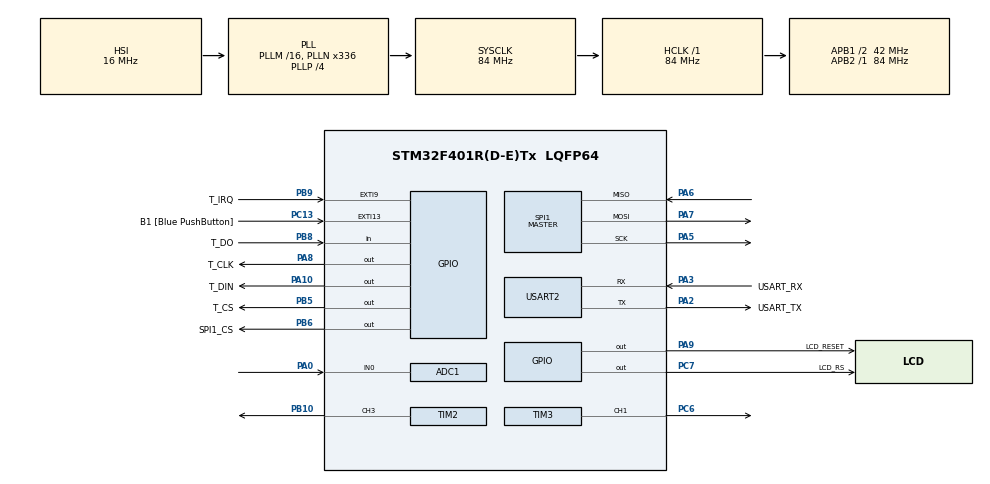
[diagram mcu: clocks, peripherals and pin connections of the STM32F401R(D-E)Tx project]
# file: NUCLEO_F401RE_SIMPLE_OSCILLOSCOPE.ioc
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ADC1.Channel-0\#ChannelRegularConversion=ADC_CHANNEL_0
ADC1.DMAContinuousRequests=ENABLE
ADC1.EnableAnalogWatchDog=true
ADC1.ExternalTrigConv=ADC_EXTERNALTRIGCONV_T3_CC1
ADC1.HighThreshold=200
ADC1.ITMode=ENABLE
ADC1.NbrOfConversionFlag=1
ADC1.Rank-0\#ChannelRegularConversion=1
ADC1.SamplingTime-0\#ChannelRegularConversion=ADC_SAMPLETIME_3CYCLES
ADC1.master=1
Dma.ADC1.0.Direction=DMA_PERIPH_TO_MEMORY
Dma.ADC1.0.FIFOMode=DMA_FIFOMODE_DISABLE
Dma.ADC1.0.Instance=DMA2_Stream0
Dma.ADC1.0.MemDataAlignment=DMA_MDATAALIGN_WORD
Dma.ADC1.0.MemInc=DMA_MINC_ENABLE
Dma.ADC1.0.Mode=DMA_CIRCULAR
Dma.ADC1.0.PeriphDataAlignment=DMA_PDATAALIGN_WORD
Dma.ADC1.0.PeriphInc=DMA_PINC_DISABLE
Dma.ADC1.0.Priority=DMA_PRIORITY_HIGH
Dma.Request0=ADC1
Dma.Request1=SPI1_TX
Dma.SPI1_TX.1.Direction=DMA_MEMORY_TO_PERIPH
Dma.SPI1_TX.1.FIFOMode=DMA_FIFOMODE_DISABLE
Dma.SPI1_TX.1.Instance=DMA2_Stream3
Dma.SPI1_TX.1.MemDataAlignment=DMA_MDATAALIGN_BYTE
Dma.SPI1_TX.1.MemInc=DMA_MINC_ENABLE
Dma.SPI1_TX.1.Mode=DMA_NORMAL
Dma.SPI1_TX.1.PeriphDataAlignment=DMA_PDATAALIGN_BYTE
Dma.SPI1_TX.1.PeriphInc=DMA_PINC_DISABLE
Dma.SPI1_TX.1.Priority=DMA_PRIORITY_HIGH
Mcu.Family=STM32F4
Mcu.Name=STM32F401R(D-E)Tx
Mcu.Package=LQFP64
NVIC.ADC_IRQn=true\:0\:0\:false\:false\:true\:true\:true
NVIC.DMA2_Stream0_IRQn=true\:0\:0\:false\:false\:true\:false\:true
NVIC.DMA2_Stream3_IRQn=true\:0\:0\:false\:false\:true\:false\:true
NVIC.EXTI15_10_IRQn=true\:0\:0\:false\:false\:true\:true\:true
NVIC.EXTI9_5_IRQn=true\:0\:0\:false\:false\:true\:true\:true
NVIC.PriorityGroup=NVIC_PRIORITYGROUP_0
NVIC.TIM5_IRQn=true\:0\:0\:false\:false\:true\:true\:true
PA0-WKUP.Signal=ADCx_IN0
PA10.GPIO_Label=T_DIN
PA10.Signal=GPIO_Output
PA13.GPIO_Label=TMS
PA13.Mode=Serial_Wire
PA13.Signal=SYS_JTMS-SWDIO
PA14.GPIO_Label=TCK
PA14.Mode=Serial_Wire
PA14.Signal=SYS_JTCK-SWCLK
PA2.GPIO_Label=USART_TX
PA2.GPIO_Mode=GPIO_MODE_AF_PP
PA2.GPIO_PuPd=GPIO_NOPULL
PA2.GPIO_Speed=GPIO_SPEED_FREQ_LOW
PA2.Mode=Asynchronous
PA2.Signal=USART2_TX
PA3.GPIO_Label=USART_RX
PA3.GPIO_Mode=GPIO_MODE_AF_PP
PA3.GPIO_PuPd=GPIO_NOPULL
PA3.GPIO_Speed=GPIO_SPEED_FREQ_LOW
PA3.Mode=Asynchronous
PA3.Signal=USART2_RX
PA5.Mode=Full_Duplex_Master
PA5.Signal=SPI1_SCK
PA6.Mode=Full_Duplex_Master
PA6.Signal=SPI1_MISO
PA7.Mode=Full_Duplex_Master
PA7.Signal=SPI1_MOSI
PA8.GPIO_Label=T_CLK
PA8.Signal=GPIO_Output
PA9.GPIO_Label=LCD_RESET
PA9.PinState=GPIO_PIN_SET
PA9.Signal=GPIO_Output
PB10.Signal=S_TIM2_CH3
PB3.GPIO_Label=SWO
PB3.Signal=SYS_JTDO-SWO
PB5.GPIO_Label=T_CS
PB5.Signal=GPIO_Output
PB6.GPIO_Label=SPI1_CS
PB6.PinState=GPIO_PIN_SET
PB6.Signal=GPIO_Output
PB8.GPIO_Label=T_DO
PB8.Signal=GPIO_Input
PB9.GPIO_Label=T_IRQ
PB9.GPIO_ModeDefaultEXTI=GPIO_MODE_IT_FALLING
PB9.Signal=GPXTI9
PC13-ANTI_TAMP.GPIO_Label=B1 [Blue PushButton]
PC13-ANTI_TAMP.GPIO_ModeDefaultEXTI=GPIO_MODE_IT_FALLING
PC13-ANTI_TAMP.GPIO_PuPd=GPIO_NOPULL
PC13-ANTI_TAMP.Signal=GPXTI13
PC14-OSC32_IN.Mode=LSE-External-Oscillator
PC14-OSC32_IN.Signal=RCC_OSC32_IN
PC15-OSC32_OUT.Mode=LSE-External-Oscillator
PC15-OSC32_OUT.Signal=RCC_OSC32_OUT
PC6.Signal=S_TIM3_CH1
PC7.GPIO_Label=LCD_RS
PC7.Signal=GPIO_Output
PH0\ -\ OSC_IN.Mode=HSE-External-Clock-Source
PH0\ -\ OSC_IN.Signal=RCC_OSC_IN
PH1\ -\ OSC_OUT.Mode=HSE-External-Clock-Source
PH1\ -\ OSC_OUT.Signal=RCC_OSC_OUT
ProjectManager.HeapSize=0x200
ProjectManager.StackSize=0x400
ProjectManager.TargetToolchain=STM32CubeIDE
RCC.48MHZClocksFreq_Value=48000000
RCC.AHBFreq_Value=84000000
RCC.APB1CLKDivider=RCC_HCLK_DIV2
RCC.APB1Freq_Value=42000000
RCC.APB1TimFreq_Value=84000000
RCC.APB2Freq_Value=84000000
RCC.APB2TimFreq_Value=84000000
RCC.CortexFreq_Value=84000000
RCC.HCLKFreq_Value=84000000
RCC.HSE_VALUE=8000000
RCC.HSI_VALUE=16000000
RCC.PLLN=336
RCC.PLLP=RCC_PLLP_DIV4
RCC.PLLQ=7
RCC.SYSCLKFreq_VALUE=84000000
RCC.SYSCLKSource=RCC_SYSCLKSOURCE_PLLCLK
RCC.VCOOutputFreq_Value=336000000
SH.ADCx_IN0.0=ADC1_IN0,IN0
SH.S_TIM2_CH3.0=TIM2_CH3,PWM Generation3 CH3
SH.S_TIM3_CH1.0=TIM3_CH1,PWM Generation1 CH1
SPI1.Direction=SPI_DIRECTION_2LINES
SPI1.Mode=SPI_MODE_MASTER
SPI1.VirtualType=VM_MASTER
TIM2.AutoReloadPreload=TIM_AUTORELOAD_PRELOAD_ENABLE
TIM2.Channel-PWM\ Generation3\ CH3=TIM_CHANNEL_3
TIM2.OCPolarity_3=TIM_OCPOLARITY_HIGH
TIM2.Period=8400
TIM2.Pulse-PWM\ Generation3\ CH3=4200
TIM3.AutoReloadPreload=TIM_AUTORELOAD_PRELOAD_ENABLE
TIM3.Channel-PWM\ Generation1\ CH1=TIM_CHANNEL_1
TIM3.Period=420
TIM3.Pulse-PWM\ Generation1\ CH1=210
TIM5.AutoReloadPreload=TIM_AUTORELOAD_PRELOAD_DISABLE
TIM5.Channel-Output\ Compare2\ No\ Output=TIM_CHANNEL_2
TIM5.OCMode_2=TIM_OCMODE_ACTIVE
TIM5.Period=168000
TIM5.Pulse-Output\ Compare2\ No\ Output=84000
TIM5.TIM_MasterOutputTrigger=TIM_TRGO_RESET
TIM5.TIM_MasterSlaveMode=TIM_MASTERSLAVEMODE_DISABLE
USART2.VirtualMode=VM_ASYNC
VP_TIM5_VS_OPM.Mode=OPM_bit
VP_TIM5_VS_no_output2.Mode=Output Compare2 No Output
board=NUCLEO-F401RE

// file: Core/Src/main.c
/* USER CODE BEGIN Header */
/**
  ******************************************************************************
  * @file           : main.c
  * @brief          : Main program body
  ******************************************************************************
  * @attention
  *
  * Copyright (c) 2022 STMicroelectronics.
  * All rights reserved.
  *
  * This software is licensed under terms that can be found in the LICENSE file
  * in the root directory of this software component.
  * If no LICENSE file comes with this software, it is provided AS-IS.
  *
  ******************************************************************************
  */
/* USER CODE END Header */
#include "main.h"

/* USER CODE BEGIN Includes */
#include "stdio.h"
#include "string.h"
#include "math.h"
#include "lcd.h"
#include "lcd2.h"
#include "GUI.h"
#include "Touch.h"
#include "Oscillo.h"
#include "test.h"
/* USER CODE END Includes */

ADC_HandleTypeDef hadc1;
DMA_HandleTypeDef hdma_adc1;

SPI_HandleTypeDef hspi1;
DMA_HandleTypeDef hdma_spi1_tx;

TIM_HandleTypeDef htim2;
TIM_HandleTypeDef htim3;
TIM_HandleTypeDef htim5;

UART_HandleTypeDef huart2;

void SystemClock_Config(void);
static void MX_GPIO_Init(void);
static void MX_USART2_UART_Init(void);
static void MX_SPI1_Init(void);
static void MX_DMA_Init(void);
static void MX_ADC1_Init(void);
static void MX_TIM2_Init(void);
static void MX_TIM3_Init(void);
static void MX_TIM5_Init(void);

int main(void)
{

  /* MCU Configuration--------------------------------------------------------*/

  /* Reset of all peripherals, Initializes the Flash interface and the Systick. */
  HAL_Init();

  /* Configure the system clock */
  SystemClock_Config();

  /* Initialize all configured peripherals */
  MX_GPIO_Init();
  MX_USART2_UART_Init();
  MX_DMA_Init();
  MX_SPI1_Init();
  MX_ADC1_Init();
  MX_TIM2_Init();
  MX_TIM3_Init();
  MX_TIM5_Init();
  /* USER CODE BEGIN 2 */
  // !!!Note!!! Modify the auto-generated code to call MX_DMA_Init() before MX_SPI1_Init() in order to use DMA in SPI1

  /* USER CODE END 2 */

  /* Infinite loop */
  /* USER CODE BEGIN WHILE */
  LCD_Init();
  HAL_Delay(3000);
  TP_Init();
  oscillo_init();

  while (1)
  {
#ifndef TOUCH_TEST_MODE
    HAL_Delay(100);
    oscillo_draw(current_view);

#else
	// Touch test
	Touch_Test();
#endif

#if 0	// ADC test
    {
      uint32_t adc_dr;

      HAL_ADC_Start(&hadc1);
	  HAL_ADC_PollForConversion(&hadc1, 1000);
	  adc_dr = HAL_ADC_GetValue(&hadc1);
	  //adc_phy = adc_dr * 3.3 / 4096;
	  printf("adc result: %ld\n", adc_dr);
    }
#endif

#if 0	// LCD test
	  //main_test();
	  	Test_Color();
		Test_FillRec();
		Test_Circle();
		Test_Triangle();
#endif

    /* USER CODE END WHILE */

  }
}

void SystemClock_Config(void)
{
  RCC_OscInitTypeDef RCC_OscInitStruct = {0};
  RCC_ClkInitTypeDef RCC_ClkInitStruct = {0};

  /** Configure the main internal regulator output voltage
  */
  __HAL_RCC_PWR_CLK_ENABLE();
  __HAL_PWR_VOLTAGESCALING_CONFIG(PWR_REGULATOR_VOLTAGE_SCALE2);
  /** Initializes the RCC Oscillators according to the specified parameters
  * in the RCC_OscInitTypeDef structure.
  */
  RCC_OscInitStruct.OscillatorType = RCC_OSCILLATORTYPE_HSI;
  RCC_OscInitStruct.HSIState = RCC_HSI_ON;
  RCC_OscInitStruct.HSICalibrationValue = RCC_HSICALIBRATION_DEFAULT;
  RCC_OscInitStruct.PLL.PLLState = RCC_PLL_ON;
  RCC_OscInitStruct.PLL.PLLSource = RCC_PLLSOURCE_HSI;
  RCC_OscInitStruct.PLL.PLLM = 16;
  RCC_OscInitStruct.PLL.PLLN = 336;
  RCC_OscInitStruct.PLL.PLLP = RCC_PLLP_DIV4;
  RCC_OscInitStruct.PLL.PLLQ = 7;
  if (HAL_RCC_OscConfig(&RCC_OscInitStruct) != HAL_OK)
  {
    Error_Handler();
  }
  /** Initializes the CPU, AHB and APB buses clocks
  */
  RCC_ClkInitStruct.ClockType = RCC_CLOCKTYPE_HCLK|RCC_CLOCKTYPE_SYSCLK
                              |RCC_CLOCKTYPE_PCLK1|RCC_CLOCKTYPE_PCLK2;
  RCC_ClkInitStruct.SYSCLKSource = RCC_SYSCLKSOURCE_PLLCLK;
  RCC_ClkInitStruct.AHBCLKDivider = RCC_SYSCLK_DIV1;
  RCC_ClkInitStruct.APB1CLKDivider = RCC_HCLK_DIV2;
  RCC_ClkInitStruct.APB2CLKDivider = RCC_HCLK_DIV1;

  if (HAL_RCC_ClockConfig(&RCC_ClkInitStruct, FLASH_LATENCY_2) != HAL_OK)
  {
    Error_Handler();
  }
}

static void MX_ADC1_Init(void)
{

  ADC_AnalogWDGConfTypeDef AnalogWDGConfig = {0};
  ADC_ChannelConfTypeDef sConfig = {0};

  /** Configure the global features of the ADC (Clock, Resolution, Data Alignment and number of conversion)
  */
  hadc1.Instance = ADC1;
  hadc1.Init.ClockPrescaler = ADC_CLOCK_SYNC_PCLK_DIV4;
  hadc1.Init.Resolution = ADC_RESOLUTION_12B;
  hadc1.Init.ScanConvMode = DISABLE;
  hadc1.Init.ContinuousConvMode = DISABLE;
  hadc1.Init.DiscontinuousConvMode = DISABLE;
  hadc1.Init.ExternalTrigConvEdge = ADC_EXTERNALTRIGCONVEDGE_RISING;
  hadc1.Init.ExternalTrigConv = ADC_EXTERNALTRIGCONV_T3_CC1;
  hadc1.Init.DataAlign = ADC_DATAALIGN_RIGHT;
  hadc1.Init.NbrOfConversion = 1;
  hadc1.Init.DMAContinuousRequests = ENABLE;
  hadc1.Init.EOCSelection = ADC_EOC_SINGLE_CONV;
  if (HAL_ADC_Init(&hadc1) != HAL_OK)
  {
    Error_Handler();
  }
  /** Configure the analog watchdog
  */
  AnalogWDGConfig.WatchdogMode = ADC_ANALOGWATCHDOG_SINGLE_REG;
  AnalogWDGConfig.HighThreshold = 200;
  AnalogWDGConfig.LowThreshold = 0;
  AnalogWDGConfig.Channel = ADC_CHANNEL_0;
  AnalogWDGConfig.ITMode = ENABLE;
  if (HAL_ADC_AnalogWDGConfig(&hadc1, &AnalogWDGConfig) != HAL_OK)
  {
    Error_Handler();
  }
  /** Configure for the selected ADC regular channel its corresponding rank in the sequencer and its sample time.
  */
  sConfig.Channel = ADC_CHANNEL_0;
  sConfig.Rank = 1;
  sConfig.SamplingTime = ADC_SAMPLETIME_3CYCLES;
  if (HAL_ADC_ConfigChannel(&hadc1, &sConfig) != HAL_OK)
  {
    Error_Handler();
  }

}

static void MX_SPI1_Init(void)
{

  /* SPI1 parameter configuration*/
  hspi1.Instance = SPI1;
  hspi1.Init.Mode = SPI_MODE_MASTER;
  hspi1.Init.Direction = SPI_DIRECTION_2LINES;
  hspi1.Init.DataSize = SPI_DATASIZE_8BIT;
  hspi1.Init.CLKPolarity = SPI_POLARITY_LOW;
  hspi1.Init.CLKPhase = SPI_PHASE_1EDGE;
  hspi1.Init.NSS = SPI_NSS_SOFT;
  hspi1.Init.BaudRatePrescaler = SPI_BAUDRATEPRESCALER_2;
  hspi1.Init.FirstBit = SPI_FIRSTBIT_MSB;
  hspi1.Init.TIMode = SPI_TIMODE_DISABLE;
  hspi1.Init.CRCCalculation = SPI_CRCCALCULATION_DISABLE;
  hspi1.Init.CRCPolynomial = 10;
  if (HAL_SPI_Init(&hspi1) != HAL_OK)
  {
    Error_Handler();
  }

}

static void MX_TIM2_Init(void)
{

  TIM_MasterConfigTypeDef sMasterConfig = {0};
  TIM_OC_InitTypeDef sConfigOC = {0};

  htim2.Instance = TIM2;
  htim2.Init.Prescaler = 0;
  htim2.Init.CounterMode = TIM_COUNTERMODE_UP;
  htim2.Init.Period = 8400;
  htim2.Init.ClockDivision = TIM_CLOCKDIVISION_DIV1;
  htim2.Init.AutoReloadPreload = TIM_AUTORELOAD_PRELOAD_ENABLE;
  if (HAL_TIM_PWM_Init(&htim2) != HAL_OK)
  {
    Error_Handler();
  }
  sMasterConfig.MasterOutputTrigger = TIM_TRGO_RESET;
  sMasterConfig.MasterSlaveMode = TIM_MASTERSLAVEMODE_DISABLE;
  if (HAL_TIMEx_MasterConfigSynchronization(&htim2, &sMasterConfig) != HAL_OK)
  {
    Error_Handler();
  }
  sConfigOC.OCMode = TIM_OCMODE_PWM1;
  sConfigOC.Pulse = 4200;
  sConfigOC.OCPolarity = TIM_OCPOLARITY_HIGH;
  sConfigOC.OCFastMode = TIM_OCFAST_DISABLE;
  if (HAL_TIM_PWM_ConfigChannel(&htim2, &sConfigOC, TIM_CHANNEL_3) != HAL_OK)
  {
    Error_Handler();
  }
  HAL_TIM_MspPostInit(&htim2);

}

static void MX_TIM3_Init(void)
{

  TIM_MasterConfigTypeDef sMasterConfig = {0};
  TIM_OC_InitTypeDef sConfigOC = {0};

  htim3.Instance = TIM3;
  htim3.Init.Prescaler = 0;
  htim3.Init.CounterMode = TIM_COUNTERMODE_UP;
  htim3.Init.Period = 420;
  htim3.Init.ClockDivision = TIM_CLOCKDIVISION_DIV1;
  htim3.Init.AutoReloadPreload = TIM_AUTORELOAD_PRELOAD_ENABLE;
  if (HAL_TIM_PWM_Init(&htim3) != HAL_OK)
  {
    Error_Handler();
  }
  sMasterConfig.MasterOutputTrigger = TIM_TRGO_RESET;
  sMasterConfig.MasterSlaveMode = TIM_MASTERSLAVEMODE_DISABLE;
  if (HAL_TIMEx_MasterConfigSynchronization(&htim3, &sMasterConfig) != HAL_OK)
  {
    Error_Handler();
  }
  sConfigOC.OCMode = TIM_OCMODE_PWM1;
  sConfigOC.Pulse = 210;
  sConfigOC.OCPolarity = TIM_OCPOLARITY_HIGH;
  sConfigOC.OCFastMode = TIM_OCFAST_DISABLE;
  if (HAL_TIM_PWM_ConfigChannel(&htim3, &sConfigOC, TIM_CHANNEL_1) != HAL_OK)
  {
    Error_Handler();
  }
  HAL_TIM_MspPostInit(&htim3);

}

static void MX_TIM5_Init(void)
{

  TIM_MasterConfigTypeDef sMasterConfig = {0};
  TIM_OC_InitTypeDef sConfigOC = {0};

  htim5.Instance = TIM5;
  htim5.Init.Prescaler = 0;
  htim5.Init.CounterMode = TIM_COUNTERMODE_UP;
  htim5.Init.Period = 168000;
  htim5.Init.ClockDivision = TIM_CLOCKDIVISION_DIV1;
  htim5.Init.AutoReloadPreload = TIM_AUTORELOAD_PRELOAD_DISABLE;
  if (HAL_TIM_OC_Init(&htim5) != HAL_OK)
  {
    Error_Handler();
  }
  if (HAL_TIM_OnePulse_Init(&htim5, TIM_OPMODE_SINGLE) != HAL_OK)
  {
    Error_Handler();
  }
  sMasterConfig.MasterOutputTrigger = TIM_TRGO_RESET;
  sMasterConfig.MasterSlaveMode = TIM_MASTERSLAVEMODE_DISABLE;
  if (HAL_TIMEx_MasterConfigSynchronization(&htim5, &sMasterConfig) != HAL_OK)
  {
    Error_Handler();
  }
  sConfigOC.OCMode = TIM_OCMODE_ACTIVE;
  sConfigOC.Pulse = 84000;
  sConfigOC.OCPolarity = TIM_OCPOLARITY_HIGH;
  sConfigOC.OCFastMode = TIM_OCFAST_DISABLE;
  if (HAL_TIM_OC_ConfigChannel(&htim5, &sConfigOC, TIM_CHANNEL_2) != HAL_OK)
  {
    Error_Handler();
  }

}

static void MX_USART2_UART_Init(void)
{

  huart2.Instance = USART2;
  huart2.Init.BaudRate = 115200;
  huart2.Init.WordLength = UART_WORDLENGTH_8B;
  huart2.Init.StopBits = UART_STOPBITS_1;
  huart2.Init.Parity = UART_PARITY_NONE;
  huart2.Init.Mode = UART_MODE_TX_RX;
  huart2.Init.HwFlowCtl = UART_HWCONTROL_NONE;
  huart2.Init.OverSampling = UART_OVERSAMPLING_16;
  if (HAL_UART_Init(&huart2) != HAL_OK)
  {
    Error_Handler();
  }

}

static void MX_DMA_Init(void)
{

  /* DMA controller clock enable */
  __HAL_RCC_DMA2_CLK_ENABLE();

  /* DMA interrupt init */
  /* DMA2_Stream0_IRQn interrupt configuration */
  HAL_NVIC_SetPriority(DMA2_Stream0_IRQn, 0, 0);
  HAL_NVIC_EnableIRQ(DMA2_Stream0_IRQn);
  /* DMA2_Stream3_IRQn interrupt configuration */
  HAL_NVIC_SetPriority(DMA2_Stream3_IRQn, 0, 0);
  HAL_NVIC_EnableIRQ(DMA2_Stream3_IRQn);

}

static void MX_GPIO_Init(void)
{
  GPIO_InitTypeDef GPIO_InitStruct = {0};

  /* GPIO Ports Clock Enable */
  __HAL_RCC_GPIOC_CLK_ENABLE();
  __HAL_RCC_GPIOH_CLK_ENABLE();
  __HAL_RCC_GPIOA_CLK_ENABLE();
  __HAL_RCC_GPIOB_CLK_ENABLE();

  /*Configure GPIO pin Output Level */
  HAL_GPIO_WritePin(LCD_RS_GPIO_Port, LCD_RS_Pin, GPIO_PIN_RESET);

  /*Configure GPIO pin Output Level */
  HAL_GPIO_WritePin(GPIOA, T_CLK_Pin|T_DIN_Pin, GPIO_PIN_RESET);

  /*Configure GPIO pin Output Level */
  HAL_GPIO_WritePin(LCD_RESET_GPIO_Port, LCD_RESET_Pin, GPIO_PIN_SET);

  /*Configure GPIO pin Output Level */
  HAL_GPIO_WritePin(T_CS_GPIO_Port, T_CS_Pin, GPIO_PIN_RESET);

  /*Configure GPIO pin Output Level */
  HAL_GPIO_WritePin(SPI1_CS_GPIO_Port, SPI1_CS_Pin, GPIO_PIN_SET);

  /*Configure GPIO pin : B1_Pin */
  GPIO_InitStruct.Pin = B1_Pin;
  GPIO_InitStruct.Mode = GPIO_MODE_IT_FALLING;
  GPIO_InitStruct.Pull = GPIO_NOPULL;
  HAL_GPIO_Init(B1_GPIO_Port, &GPIO_InitStruct);

  /*Configure GPIO pin : LCD_RS_Pin */
  GPIO_InitStruct.Pin = LCD_RS_Pin;
  GPIO_InitStruct.Mode = GPIO_MODE_OUTPUT_PP;
  GPIO_InitStruct.Pull = GPIO_NOPULL;
  GPIO_InitStruct.Speed = GPIO_SPEED_FREQ_LOW;
  HAL_GPIO_Init(LCD_RS_GPIO_Port, &GPIO_InitStruct);

  /*Configure GPIO pins : T_CLK_Pin LCD_RESET_Pin T_DIN_Pin */
  GPIO_InitStruct.Pin = T_CLK_Pin|LCD_RESET_Pin|T_DIN_Pin;
  GPIO_InitStruct.Mode = GPIO_MODE_OUTPUT_PP;
  GPIO_InitStruct.Pull = GPIO_NOPULL;
  GPIO_InitStruct.Speed = GPIO_SPEED_FREQ_LOW;
  HAL_GPIO_Init(GPIOA, &GPIO_InitStruct);

  /*Configure GPIO pins : T_CS_Pin SPI1_CS_Pin */
  GPIO_InitStruct.Pin = T_CS_Pin|SPI1_CS_Pin;
  GPIO_InitStruct.Mode = GPIO_MODE_OUTPUT_PP;
  GPIO_InitStruct.Pull = GPIO_NOPULL;
  GPIO_InitStruct.Speed = GPIO_SPEED_FREQ_LOW;
  HAL_GPIO_Init(GPIOB, &GPIO_InitStruct);

  /*Configure GPIO pin : T_DO_Pin */
  GPIO_InitStruct.Pin = T_DO_Pin;
  GPIO_InitStruct.Mode = GPIO_MODE_INPUT;
  GPIO_InitStruct.Pull = GPIO_NOPULL;
  HAL_GPIO_Init(T_DO_GPIO_Port, &GPIO_InitStruct);

  /*Configure GPIO pin : T_IRQ_Pin */
  GPIO_InitStruct.Pin = T_IRQ_Pin;
  GPIO_InitStruct.Mode = GPIO_MODE_IT_FALLING;
  GPIO_InitStruct.Pull = GPIO_NOPULL;
  HAL_GPIO_Init(T_IRQ_GPIO_Port, &GPIO_InitStruct);

  /* EXTI interrupt init*/
  HAL_NVIC_SetPriority(EXTI9_5_IRQn, 0, 0);
  HAL_NVIC_EnableIRQ(EXTI9_5_IRQn);

  HAL_NVIC_SetPriority(EXTI15_10_IRQn, 0, 0);
  HAL_NVIC_EnableIRQ(EXTI15_10_IRQn);

}

/* USER CODE BEGIN 4 */
int _write(int file, char *ptr, int len)
{
  int DataIdx;
  for(DataIdx=0; DataIdx<len; DataIdx++)
  {
    ITM_SendChar(*ptr++);
  }
  return len;
}

/* USER CODE END 4 */

void Error_Handler(void)
{
  __disable_irq();
  while (1)
  {
  }
}
